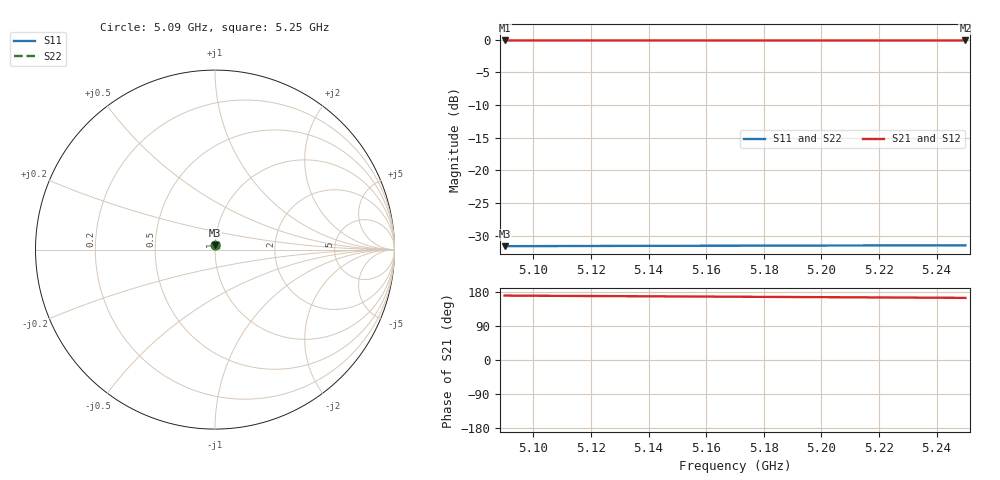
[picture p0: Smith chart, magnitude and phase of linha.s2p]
! Touchstone file exported from HFSS 2024.2.0
!  File:  D:/dev/EMBRAER/P1H/R03_Estudo/ZYF255DA/cupom_20/Linha_ZYF255DA_20.aedt
!  Generated:  10:15:34 PM Nov  6, 2026
!  Design:  Linha
!  Project:  Linha_ZYF255DA_20
!  Setup:  Perda
!  Solution:  Banda
# GHz S RI R 50.000000
! Terminal data exported
! Port[1] = E
! Port[2] = S
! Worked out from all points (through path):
!   17 points, 5.09 GHz to 5.25 GHz, reference 50 ohm
!   highest |S21| = -0.12 dB at 5.09 GHz (marker M1); lowest = -0.1 dB at 5.25 GHz (marker M2)
!   group delay of S21, straight-line fit = 104 ps
!   lowest |S11| = -31.6 dB at 5.09 GHz (marker M3), VSWR 1.05, Z = 50 + j2.63 ohm
!   |S11| at or under -10 dB: start of sweep to end of sweep
!   |S22| runs from -31.6 to -31.5 dB; largest |S21 - S12| = 1.1e-15
5.09  0.000221 0.0263  -0.9714 0.1718  -0.9714 0.1718  0.00137 0.0261
! Gamma 0 0 0 0
! Port Impedance 50 0 50 0
5.1  0.000388 0.0264  -0.9703 0.1782  -0.9703 0.1782  0.00153 0.0262
5.11  0.000556 0.0264  -0.969 0.1845  -0.969 0.1845  0.0017 0.0262
5.12  0.000725 0.0264  -0.9678 0.1908  -0.9678 0.1908  0.00187 0.0262
5.13  0.000893 0.0264  -0.9665 0.1972  -0.9665 0.1972  0.00203 0.0262
5.14  0.00106 0.0265  -0.9651 0.2035  -0.9651 0.2035  0.0022 0.0262
5.15  0.00123 0.0265  -0.9637 0.2098  -0.9637 0.2098  0.00237 0.0262
5.16  0.0014 0.0265  -0.9623 0.2161  -0.9623 0.2161  0.00254 0.0262
5.17  0.00157 0.0265  -0.9608 0.2224  -0.9608 0.2224  0.00271 0.0263
5.18  0.00174 0.0265  -0.9593 0.2286  -0.9593 0.2286  0.00287 0.0263
5.19  0.00191 0.0265  -0.9578 0.2349  -0.9578 0.2349  0.00304 0.0263
5.2  0.00208 0.0265  -0.9562 0.2412  -0.9562 0.2412  0.00321 0.0263
5.21  0.00225 0.0265  -0.9546 0.2474  -0.9546 0.2474  0.00338 0.0263
5.22  0.00242 0.0266  -0.9529 0.2536  -0.9529 0.2536  0.00355 0.0263
5.23  0.00259 0.0266  -0.9512 0.2599  -0.9512 0.2599  0.00372 0.0263
5.24  0.00276 0.0266  -0.9494 0.2661  -0.9494 0.2661  0.00389 0.0262
5.25  0.00293 0.0266  -0.9476 0.2723  -0.9476 0.2723  0.00405 0.0262
